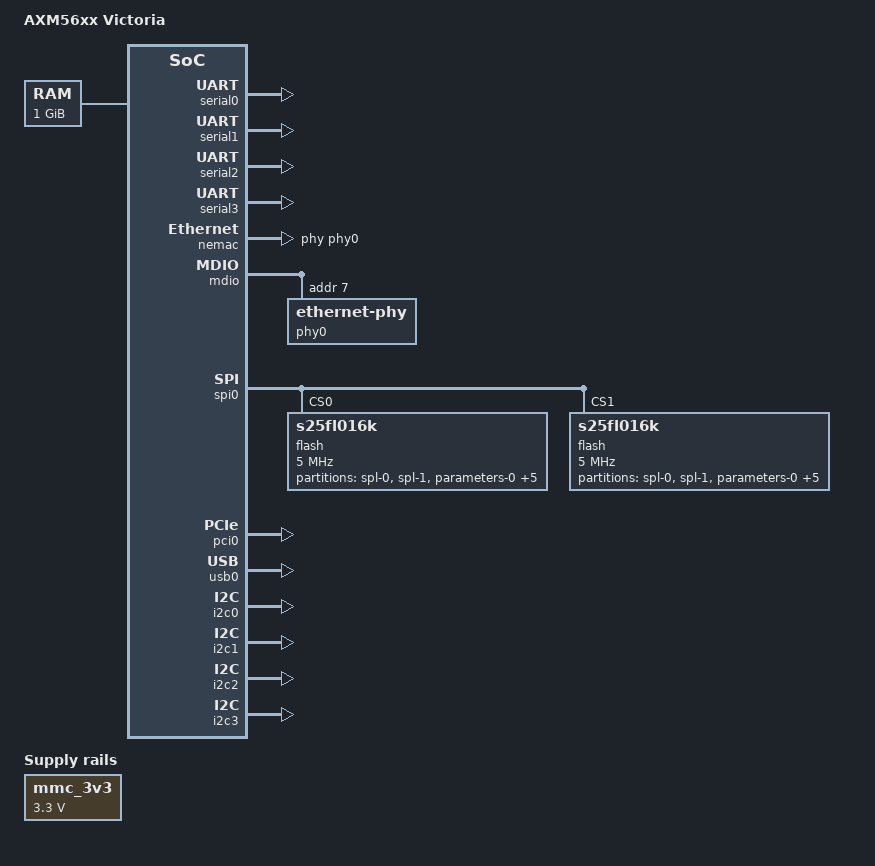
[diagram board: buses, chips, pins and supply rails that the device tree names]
/*
 * arch/arm64/boot/dts/intel/axm5616-victoria.dts
 *
 * Copyright (C) 2016 Intel
 *
 * This program is free software; you can redistribute it and/or modify
 * it under the terms of the GNU General Public License as published by
 * the Free Software Foundation; either version 2 of the License, or
 * (at your option) any later version.
 */

/dts-v1/;

#include "axm56xx.dtsi"
#include "axm5616-cpus.dtsi"

/ {
	model = "AXM56xx Victoria";
	compatible = "lsi,axm5616";

	memory {
		device_type = "memory";
		reg = <0 0x00000000 0 0x40000000>;
	};

	mmc_3v3: fixedregulator@0 {
		compatible = "regulator-fixed";
		regulator-name = "3V3";
		regulator-min-microvolt = <3300000>;
		regulator-max-microvolt = <3300000>;
		regulator-always-on;
	};

	soc {
	};
};

&serial0 {
	status = "okay";
};

&serial1 {
	status = "okay";
};

&serial2 {
	status = "okay";
};

&serial3 {
	status = "okay";
};

&nemac {
	status = "okay";
	phy-handle = <&phy0>;
};

&mdio {
	status = "okay";
	lsi,mdio-clk-offset = <0x1c>;
	lsi,mdio-clk-period = <0xf0>;
	max-speed = <10>;

	phy0: ethernet-phy@3 {
		reg = <0x7>;
	};
};

&gpio0 {
	status = "okay";
};

&gpio1 {
	status = "okay";
};

&spi0 {
	status = "okay";

	flash@0 {
		#address-cells = <1>;
		#size-cells = <1>;
		compatible = "s25fl016k";
		reg = <0>;
		spi-max-frequency = <5000000>;
		pl022,com-mode = <1>;

		partition@0 {
			label = "spl-0";
			reg = <0x0 0x40000>;
		};
		partition@40000 {
			label = "spl-1";
			reg = <0x40000 0x40000>;
		};
		partition@80000 {
			label = "parameters-0";
			reg = <0x80000 0x10000>;
		};
		partition@90000 {
			label = "parameters-1";
			reg = <0x90000 0x10000>;
		};
		partition@a0000 {
			label = "env-0";
			reg = <0xa0000 0x10000>;
		};
		partition@b0000 {
			label = "env-1";
			reg = <0xb0000 0x10000>;
		};
		partition@100000 {
			label = "u-boot-0";
			reg = <0x100000 0x200000>;
		};
		partition@300000 {
			label = "u-boot-1";
			reg = <0x300000 0x200000>;
		};
	};

	flash@1 {
		#address-cells = <1>;
		#size-cells = <1>;
		compatible = "s25fl016k";
		reg = <1>;
		spi-max-frequency = <5000000>;
		pl022,com-mode = <1>;

		partition@0 {
			label = "spl-0";
			reg = <0x0 0x40000>;
		};
		partition@40000 {
			label = "spl-1";
			reg = <0x40000 0x40000>;
		};
		partition@80000 {
			label = "parameters-0";
			reg = <0x80000 0x10000>;
		};
		partition@90000 {
			label = "parameters-1";
			reg = <0x90000 0x10000>;
		};
		partition@a0000 {
			label = "env-0";
			reg = <0xa0000 0x10000>;
		};
		partition@b0000 {
			label = "env-1";
			reg = <0xb0000 0x10000>;
		};
		partition@100000 {
			label = "u-boot-0";
			reg = <0x100000 0x200000>;
		};
		partition@300000 {
			label = "u-boot-1";
			reg = <0x300000 0x200000>;
		};
	};
};

&pci0 {

	status = "okay";
};

&usb0 {
	status = "okay";
};

&i2c0 {
	status = "okay";
};

&i2c1 {
	status = "okay";
};

&i2c2 {
	status = "okay";
};

&i2c3 {
	status = "okay";
};
